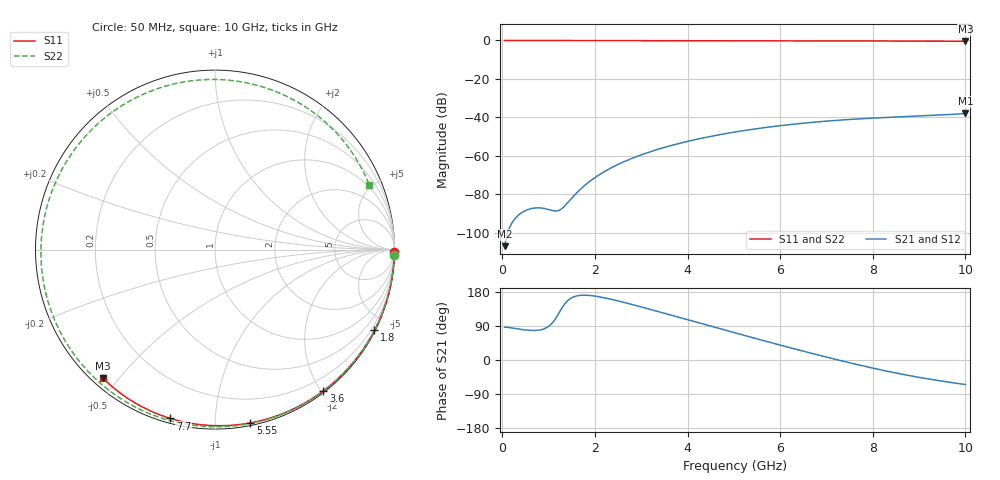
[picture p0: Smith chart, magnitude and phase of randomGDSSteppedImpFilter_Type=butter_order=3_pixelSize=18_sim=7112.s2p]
! freq	dB(S11)	phase(S11)	dB(S12)	phase(S12)
!  dB(S21)	phase(S21)	dB(S22)	phase(S22)
!S-par simulation data
#  GHz  S  DB  R 50
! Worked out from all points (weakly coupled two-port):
!   200 points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, 50 MHz to 10 GHz, reference 50 ohm
!   highest |S21| = -37.95 dB at 10 GHz (marker M1); lowest = -106.9 dB at 50 MHz (marker M2)
!   lowest |S11| = -0.4 dB at 10 GHz (marker M3), VSWR 39.24, Z = 1.54 - j22.7 ohm
!   |S11| at or under -10 dB: nowhere
!   |S22| runs from -0.6 to 0.0 dB; largest |S21 - S12| = 0
!   S11 on the Smith chart (normalised r, x): 50 MHz: open; 1.8 GHz: 0.04, -4.19; 3.6 GHz: 0.02, -2.03; 5.55 GHz: 0.02, -1.22; 7.7 GHz: 0.02, -0.77; 10 GHz: 0.03, -0.45
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0.05  -0.00 -0.8  -106.87 86.8  -106.87 86.8  -0.00 -1.8
0.75  -0.01 -11.3  -86.95 78.3  -86.95 78.3  -0.03 -27.1
1.55  -0.03 -23.2  -80.59 166.9  -80.59 166.9  -0.07 -55.0
1.75  -0.03 -26.1  -75.90 171.0  -75.90 171.0  -0.08 -61.8
1.8  -0.03 -26.9  -74.88 170.9  -74.88 170.9  -0.08 -63.5
2.1  -0.04 -31.2  -69.66 166.6  -69.66 166.6  -0.09 -73.5
2.45  -0.05 -36.3  -64.98 157.4  -64.98 157.4  -0.10 -84.9
2.9  -0.06 -42.7  -60.31 143.3  -60.31 143.3  -0.12 -99.2
3.4  -0.07 -49.8  -56.26 126.7  -56.26 126.7  -0.14 -114.7
3.6  -0.07 -52.5  -54.88 119.9  -54.88 119.9  -0.15 -120.8
4.35  -0.09 -62.7  -50.56 94.4  -50.56 94.4  -0.19 -143.3
5.05  -0.11 -72.0  -47.46 70.8  -47.46 70.8  -0.23 -164.1
5.55  -0.13 -78.5  -45.65 54.1  -45.65 54.1  -0.26 -179.1
6.15  -0.15 -86.0  -43.86 34.5  -43.86 34.5  -0.31 162.4
6.7  -0.18 -92.8  -42.52 16.9  -42.52 16.9  -0.35 144.7
7.25  -0.21 -99.4  -41.45 0.0  -41.45 0.0  -0.39 126.2
7.7  -0.24 -104.8  -40.75 -13.1  -40.75 -13.1  -0.42 110.4
8.35  -0.29 -112.3  -39.95 -30.6  -39.95 -30.6  -0.47 86.6
8.7  -0.32 -116.4  -39.58 -39.1  -39.58 -39.1  -0.50 73.2
9.1  -0.35 -120.9  -39.17 -47.9  -39.17 -47.9  -0.53 57.7
9.55  -0.39 -126.0  -38.63 -56.7  -38.63 -56.7  -0.56 40.1
10  -0.44 -131.1  -37.95 -64.8  -37.95 -64.8  -0.61 22.6
